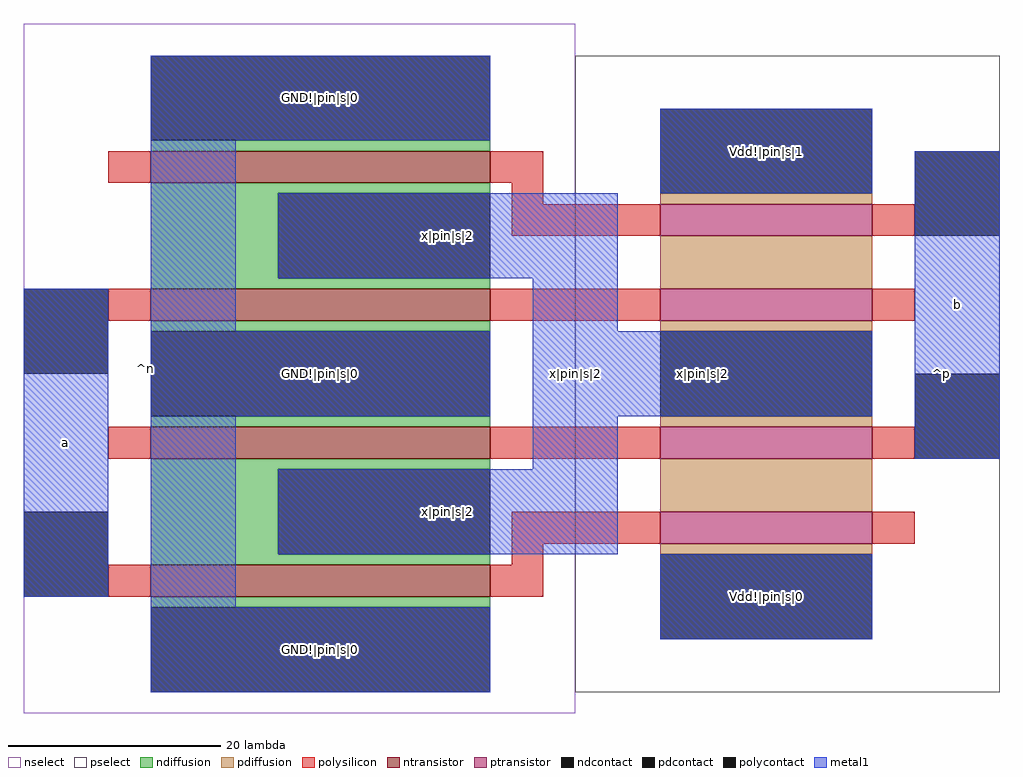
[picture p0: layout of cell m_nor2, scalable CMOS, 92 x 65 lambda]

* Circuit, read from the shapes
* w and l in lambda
.subckt m_nor2 GND!|pin|s|0 Vdd!|pin|s|0 Vdd!|pin|s|1 a b x|pin|s|2
M1 x|pin|s|2 a GND!|pin|s|0 VSUBS nfet w=32 l=3 m=2
M2 GND!|pin|s|0 b x|pin|s|2 VSUBS nfet w=32 l=3 m=2
M3 n1 a Vdd!|pin|s|0 NWELL pfet w=20 l=3
M4 x|pin|s|2 b n1 NWELL pfet w=20 l=3
M5 n2 a x|pin|s|2 NWELL pfet w=20 l=3
M6 Vdd!|pin|s|1 b n2 NWELL pfet w=20 l=3
.ends

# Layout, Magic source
magic
tech scmos
<< nselect >>
rect -52 356 0 421
<< pselect >>
rect 0 358 40 418
<< ndiffusion >>
rect -40 409 -8 410
rect -40 405 -8 406
rect -40 397 -28 405
rect -40 396 -8 397
rect -40 392 -8 393
rect -40 383 -8 384
rect -40 379 -8 380
rect -40 371 -28 379
rect -40 370 -8 371
rect -40 366 -8 367
<< pdiffusion >>
rect 8 404 28 405
rect 8 396 28 401
rect 8 392 28 393
rect 8 383 28 384
rect 8 375 28 380
rect 8 371 28 372
<< ntransistor >>
rect -40 406 -8 409
rect -40 393 -8 396
rect -40 380 -8 383
rect -40 367 -8 370
<< ptransistor >>
rect 8 401 28 404
rect 8 393 28 396
rect 8 380 28 383
rect 8 372 28 375
<< polysilicon >>
rect -44 406 -40 409
rect -8 406 -3 409
rect -6 404 -3 406
rect -6 401 8 404
rect 28 401 32 404
rect -44 393 -40 396
rect -8 393 8 396
rect 28 393 32 396
rect -44 380 -40 383
rect -8 380 8 383
rect 28 380 32 383
rect -6 372 8 375
rect 28 372 32 375
rect -6 370 -3 372
rect -44 367 -40 370
rect -8 367 -3 370
<< ndcontact >>
rect -40 410 -8 418
rect -28 397 -8 405
rect -40 384 -8 392
rect -28 371 -8 379
rect -40 358 -8 366
<< pdcontact >>
rect 8 405 28 413
rect 8 384 28 392
rect 8 363 28 371
<< polycontact >>
rect 32 401 40 409
rect -52 388 -44 396
rect 32 380 40 388
rect -52 367 -44 375
<< metal1 >>
rect -40 410 -8 418
rect -52 367 -44 396
rect -40 392 -32 410
rect 8 405 28 413
rect -28 397 4 405
rect -4 392 4 397
rect -40 384 -8 392
rect -4 384 28 392
rect -40 366 -32 384
rect -4 379 4 384
rect 32 380 40 409
rect -28 371 4 379
rect -40 358 -8 366
rect 8 363 28 371
<< labels >>
rlabel metal1 -52 367 -44 396 1 a
rlabel metal1 32 380 40 409 7 b
rlabel space -53 356 -28 421 7 ^n
rlabel space 28 358 41 418 3 ^p
rlabel metal1 -40 384 -8 392 1 GND!|pin|s|0
rlabel metal1 -40 358 -32 418 1 GND!|pin|s|0
rlabel metal1 -4 371 4 405 1 x|pin|s|2
rlabel metal1 -28 397 4 405 1 x|pin|s|2
rlabel metal1 -28 371 4 379 1 x|pin|s|2
rlabel metal1 -4 384 28 392 1 x|pin|s|2
rlabel metal1 -40 410 -8 418 1 GND!|pin|s|0
rlabel metal1 -40 358 -8 366 1 GND!|pin|s|0
rlabel metal1 8 405 28 413 1 Vdd!|pin|s|1
rlabel metal1 8 363 28 371 1 Vdd!|pin|s|0
<< end >>
